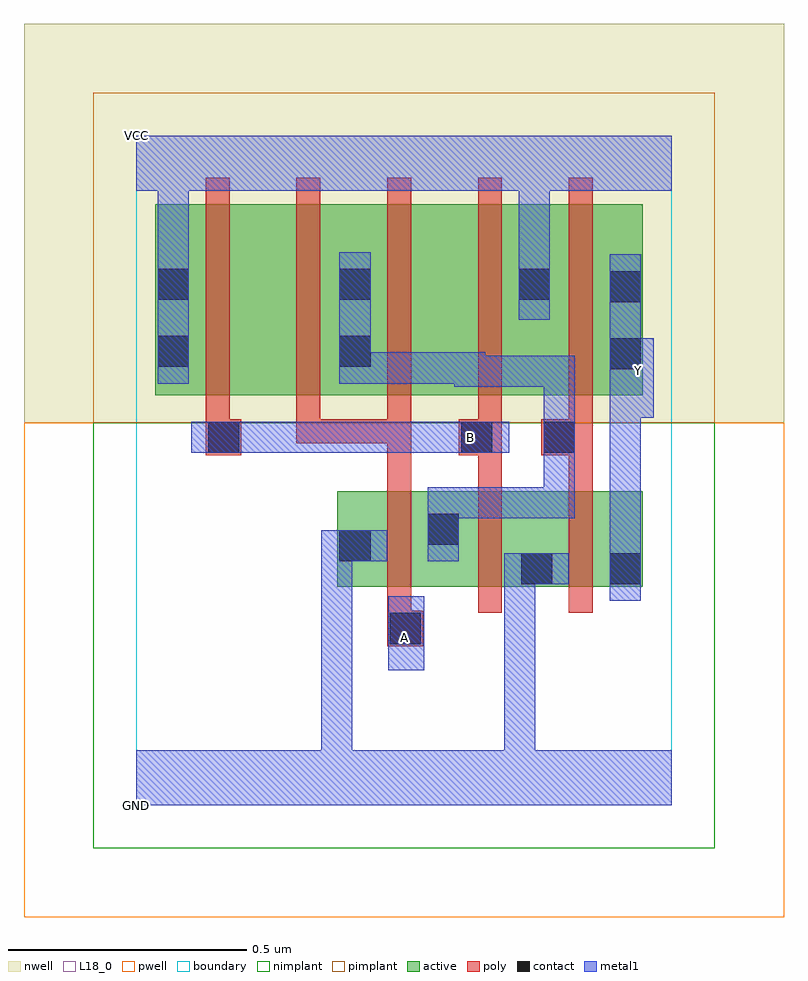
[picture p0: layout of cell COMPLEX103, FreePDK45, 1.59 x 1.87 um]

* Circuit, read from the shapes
.subckt COMPLEX103 A B GND VCC Y
M1 n1 A GND VSUBS nfet w=0.2u l=0.05u
M2 GND B n1 VSUBS nfet w=0.2u l=0.05u
M3 Y n1 GND VSUBS nfet w=0.2u l=0.05u
M4 n2 B VCC n3 pfet w=0.4u l=0.05u
M5 n1 A n2 n3 pfet w=0.4u l=0.05u
M6 n4 A n1 n3 pfet w=0.4u l=0.05u
M7 VCC B n4 n3 pfet w=0.4u l=0.05u
M8 Y n1 VCC n3 pfet w=0.4u l=0.05u
.ends

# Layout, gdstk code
import gdstk
lib = gdstk.Library(unit=1e-6, precision=1e-09)
def R(c, l, rs):  # rectangles x0, y0, x1, y1
    for r in rs: c.add(gdstk.rectangle(r[:2], r[2:], *l))
def A(c, l, x, y, w, h, nx, ny, dx, dy):  # array of equal rectangles
    R(c, l, [(x+i*dx, y+j*dy, x+i*dx+w, y+j*dy+h) for i in range(nx) for j in range(ny)])
active = (1, 0)
pwell = (2, 0)
nwell = (3, 0)
nimplant = (4, 0)
pimplant = (5, 0)
poly = (9, 0)
contact = (10, 0)
metal1 = (11, 0)
L18_0 = (18, 0)
boundary = (235, 0)

complex103 = lib.new_cell('COMPLEX103')
R(complex103, active, [(0.42,0.457,0.495,0.657), (0.42,0.457,0.68,0.657), (0.605,0.457,0.68,0.657), (0.605,0.457,0.875,0.657), (0.8,0.457,1.06,0.657), (0.8,0.457,0.875,0.597), (0.985,0.457,1.06,0.657), (0.04,0.857,0.265,1.257), (0.04,0.857,0.115,1.255), (0.265,0.857,0.495,1.257), (0.42,0.857,0.495,1.2), (0.42,0.857,0.645,1.257), (0.645,0.857,0.87,1.257), (0.795,0.857,1.06,1.257), (0.985,0.857,1.06,1.2), (0.795,0.907,0.87,1.255)])
R(complex103, pwell, [(-0.235,-0.235,1.355,0.8)])
R(complex103, nwell, [(-0.235,0.8,1.355,1.635)])
R(complex103, nimplant, [(-0.09,-0.09,1.21,0.8)])
R(complex103, pimplant, [(-0.09,0.8,1.21,1.49)])
A(complex103, poly, 0.525, 0.402, 0.05, 0.31, 3, 1, 0.19, 0)
A(complex103, poly, 0.145, 0.757, 0.05, 0.095, 5, 1, 0.19, 0)
A(complex103, poly, 0.145, 0.802, 0.05, 0.51, 5, 1, 0.19, 0)
R(complex103, poly, [(0.525,0.332,0.6,0.407), (0.525,0.357,0.575,0.452), (0.525,0.662,0.575,0.807), (0.715,0.662,0.765,0.782), (0.905,0.662,0.955,0.782), (0.145,0.732,0.22,0.807), (0.675,0.732,0.765,0.807), (0.847,0.732,0.955,0.807), (0.335,0.757,0.385,0.807), (0.335,0.757,0.415,0.807), (0.365,0.757,0.575,0.807), (0.365,0.757,0.415,0.807), (0.525,0.757,0.575,0.807)])
R(complex103, contact, [(0.53,0.337,0.595,0.402), (0.805,0.462,0.87,0.527), (0.99,0.462,1.055,0.527), (0.425,0.51,0.49,0.575), (0.61,0.545,0.675,0.61), (0.15,0.737,0.215,0.802), (0.68,0.737,0.745,0.802), (0.852,0.737,0.917,0.802), (0.99,0.912,1.055,0.977), (0.045,0.917,0.11,0.982), (0.425,0.917,0.49,0.982), (0.99,1.052,1.055,1.117), (0.045,1.057,0.11,1.122), (0.425,1.057,0.49,1.122), (0.8,1.057,0.865,1.122)])
R(complex103, metal1, [(0,0,1.12,0.115), (0.387,0.05,0.452,0.527), (0.77,0.05,0.835,0.115), (0.77,0.05,0.835,0.115), (0.77,0.05,0.835,0.115), (0.77,0.05,0.835,0.115), (0.77,0.05,0.835,0.115), (0.77,0.05,0.835,0.115), (0.77,0.05,0.835,0.115), (0.77,0.05,0.835,0.115), (0.77,0.05,0.835,0.527), (0.527,0.282,0.602,0.437), (0.99,0.427,1.055,0.562), (0.387,0.462,0.452,0.527), (0.387,0.462,0.452,0.527), (0.387,0.462,0.452,0.527), (0.387,0.462,0.452,0.527), (0.387,0.462,0.452,0.527), (0.387,0.462,0.452,0.527), (0.387,0.462,0.452,0.527), (0.387,0.462,0.452,0.575), (0.77,0.462,0.905,0.527), (0.99,0.497,1.055,0.875), (0.387,0.51,0.525,0.575), (0.61,0.51,0.675,0.645), (0.61,0.535,0.675,0.6), (0.61,0.535,0.675,0.665), (0.61,0.6,0.917,0.665), (0.852,0.6,0.917,0.665), (0.852,0.6,0.917,0.837), (0.852,0.702,0.917,0.837), (0.115,0.737,0.25,0.802), (0.185,0.737,0.25,0.802), (0.185,0.737,0.25,0.802), (0.185,0.737,0.387,0.802), (0.322,0.737,0.387,0.802), (0.322,0.737,0.387,0.802), (0.322,0.737,0.387,0.802), (0.322,0.737,0.525,0.802), (0.46,0.737,0.525,0.802), (0.46,0.737,0.697,0.802), (0.632,0.737,0.697,0.802), (0.632,0.737,0.697,0.802), (0.632,0.737,0.78,0.802), (0.852,0.772,0.917,0.837), (0.852,0.772,0.917,0.837), (0.852,0.772,0.917,0.94), (0.99,0.81,1.082,0.977), (0.665,0.875,0.917,0.94), (0.665,0.875,0.73,0.947), (0.852,0.875,0.917,0.94), (0.99,0.877,1.055,0.942), (0.99,0.877,1.055,1.152), (0.045,0.882,0.11,1.157), (0.425,0.882,0.49,1.157), (0.425,0.882,0.525,0.947), (0.46,0.882,0.525,0.947), (0.46,0.882,0.697,0.947), (0.632,0.882,0.697,0.947), (0.632,0.882,0.73,0.947), (0.8,1.015,0.865,1.157), (0.045,1.092,0.11,1.35), (0.8,1.092,0.865,1.35), (0,1.285,1.12,1.4)])
R(complex103, L18_0, [(0,0,1.12,0.115), (0.387,0.05,0.452,0.527), (0.77,0.05,0.835,0.115), (0.77,0.05,0.835,0.115), (0.77,0.05,0.835,0.115), (0.77,0.05,0.835,0.115), (0.77,0.05,0.835,0.115), (0.77,0.05,0.835,0.115), (0.77,0.05,0.835,0.115), (0.77,0.05,0.835,0.115), (0.77,0.05,0.835,0.527), (0.527,0.282,0.602,0.437), (0.527,0.317,0.592,0.382), (0.99,0.427,1.055,0.562), (0.387,0.462,0.452,0.527), (0.387,0.462,0.452,0.527), (0.387,0.462,0.452,0.527), (0.387,0.462,0.452,0.527), (0.387,0.462,0.452,0.527), (0.387,0.462,0.452,0.527), (0.387,0.462,0.452,0.527), (0.387,0.462,0.452,0.575), (0.77,0.462,0.905,0.527), (0.99,0.497,1.055,0.875), (0.387,0.51,0.525,0.575), (0.115,0.737,0.25,0.802), (0.185,0.737,0.25,0.802), (0.185,0.737,0.25,0.802), (0.185,0.737,0.387,0.802), (0.322,0.737,0.387,0.802), (0.322,0.737,0.387,0.802), (0.322,0.737,0.387,0.802), (0.322,0.737,0.525,0.802), (0.46,0.737,0.525,0.802), (0.46,0.737,0.697,0.802), (0.632,0.737,0.697,0.802), (0.632,0.737,0.697,0.802), (0.632,0.737,0.78,0.802), (0.667,0.737,0.732,0.802), (0.99,0.81,1.082,0.977), (0.99,0.877,1.055,1.152), (0.99,0.877,1.055,0.942), (1.017,0.877,1.082,0.942), (0.045,0.882,0.11,1.157), (0.8,1.015,0.865,1.157), (0.045,1.092,0.11,1.35), (0.8,1.092,0.865,1.35), (0,1.285,1.12,1.4)])
R(complex103, boundary, [(0,0,1.12,1.4)])
complex103.add(gdstk.Label('A', (0.56,0.35), layer=11, texttype=0))
complex103.add(gdstk.Label('B', (0.7,0.77), layer=11, texttype=0))
complex103.add(gdstk.Label('Y', (1.05,0.91), layer=11, texttype=0))
complex103.add(gdstk.Label('VCC', (0,1.4), layer=11, texttype=0))
complex103.add(gdstk.Label('GND', (0,0), layer=11, texttype=0))

lib.write_gds('COMPLEX103.gds')
